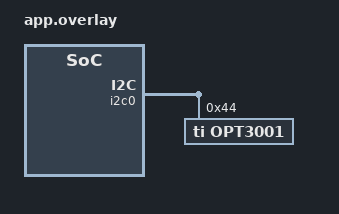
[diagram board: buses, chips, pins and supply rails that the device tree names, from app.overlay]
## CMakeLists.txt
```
#
# Copyright (c) 2023 HARDWARIO a.s.
#
# SPDX-License-Identifier: LicenseRef-HARDWARIO-5-Clause
#

cmake_minimum_required(VERSION 3.20.0)

find_package(Zephyr REQUIRED HINTS $ENV{ZEPHYR_BASE})
project(opt3001)

target_sources(app PRIVATE src/main.c)
```

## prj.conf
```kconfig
#
# Copyright (c) 2023 HARDWARIO a.s.
#
# SPDX-License-Identifier: LicenseRef-HARDWARIO-5-Clause
#

CONFIG_CTR_DEFAULTS=y
CONFIG_CTR_LOG=y
CONFIG_CTR_SHELL=y
CONFIG_I2C=y
CONFIG_OPT300X=y
CONFIG_SENSOR=y
```

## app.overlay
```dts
/*
 * Copyright (c) 2023 HARDWARIO a.s.
 *
 * SPDX-License-Identifier: LicenseRef-HARDWARIO-5-Clause
 */

&i2c0 {
	opt3001: opt3001@44 {
		compatible = "ti,opt3001";
		reg = <0x44>;
	};
};
```

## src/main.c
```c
/*
 * Copyright (c) 2023 HARDWARIO a.s.
 *
 * SPDX-License-Identifier: LicenseRef-HARDWARIO-5-Clause
 */

/* Zephyr includes */
#include <zephyr/device.h>
#include <zephyr/devicetree.h>
#include <zephyr/drivers/sensor.h>
#include <zephyr/kernel.h>
#include <zephyr/logging/log.h>

LOG_MODULE_REGISTER(main, LOG_LEVEL_DBG);

int main(void)
{
	int ret;

	LOG_INF("Build time: " __DATE__ " " __TIME__);

	static const struct device *dev = DEVICE_DT_GET(DT_NODELABEL(opt3001));

	if (!device_is_ready(dev)) {
		LOG_ERR("Device not ready");
		k_oops();
	}

	for (;;) {
		k_sleep(K_SECONDS(1));

		ret = sensor_sample_fetch(dev);
		if (ret) {
			LOG_ERR("Call `sensor_sample_fetch` failed: %d", ret);
			continue;
		}

		struct sensor_value val;
		ret = sensor_channel_get(dev, SENSOR_CHAN_LIGHT, &val);
		if (ret) {
			LOG_ERR("Call `sensor_channel_get` failed: %d", ret);
			continue;
		}

		LOG_INF("Illuminance: %d lux", val.val1);
	}

	return 0;
}
```
